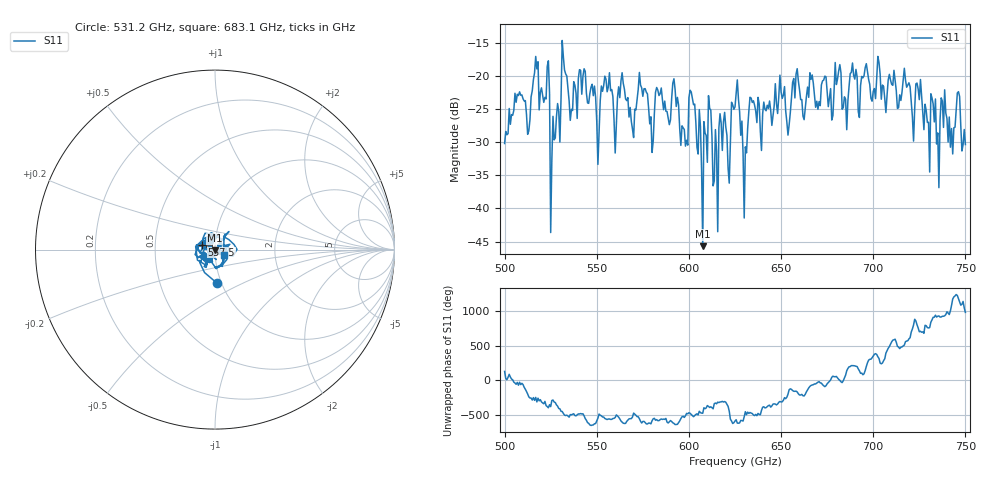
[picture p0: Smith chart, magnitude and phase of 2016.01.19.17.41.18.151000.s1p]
!Created with skrf (http://scikit-rf.org).
# GHz S RI R 50.0
!freq ReS11 ImS11
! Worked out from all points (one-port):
!   401 points, 500 GHz to 750 GHz, reference 50 ohm
!   lowest |S11| = -45.7 dB at 607.5 GHz (marker M1), VSWR 1.01, Z = 49.8 - j0.478 ohm
!   |S11| at or under -10 dB: start of sweep to end of sweep
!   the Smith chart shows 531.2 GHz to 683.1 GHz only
!   S11 on the Smith chart (normalised r, x): 531.2 GHz: 0.95, -0.37; 557.5 GHz: 0.86, +0.05; 683.1 GHz: 1.10, -0.06
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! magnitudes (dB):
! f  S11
! 500 GHz  -30.2
! 506.9 GHz  -22.7
! 513.1 GHz  -28.3
! 516.9 GHz  -17.0
! 523.1 GHz  -18.5
! 526.2 GHz  -26.1
! 531.2 GHz  -14.6
! 550.6 GHz  -33.3
! 557.5 GHz  -22.2
! 562.5 GHz  -23.2
! 580 GHz  -31.5
! 583.1 GHz  -22.1
! 593.8 GHz  -23.2
! 598.1 GHz  -30.6
! 601.9 GHz  -23.3
! 607.5 GHz  -45.7
! 611.2 GHz  -24.9
! 614.4 GHz  -28.1
! 625 GHz  -24.6
! 630.6 GHz  -30.7
! 633.8 GHz  -23.3
! 656.2 GHz  -20.9
! 683.1 GHz  -25.0
! 687.5 GHz  -19.6
! 718.8 GHz  -21.3
! 734.4 GHz  -30.2
! 746.2 GHz  -22.3
! 750 GHz  -30.3
